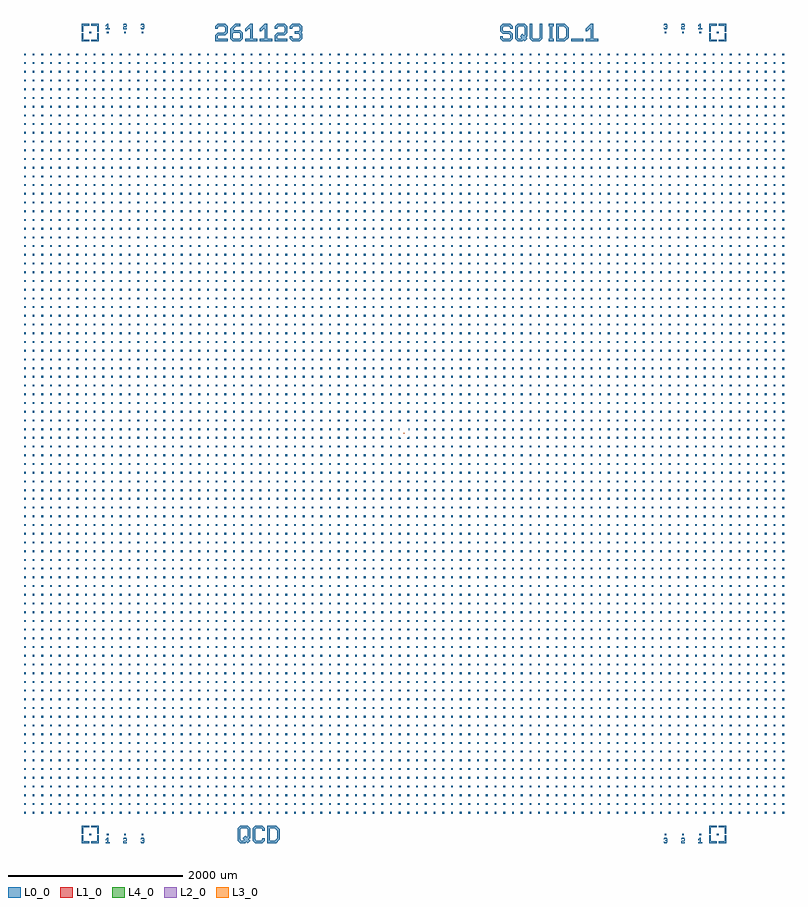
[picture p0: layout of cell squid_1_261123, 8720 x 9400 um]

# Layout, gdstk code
import gdstk
lib = gdstk.Library(unit=1e-6, precision=1e-09)
def R(c, l, rs):  # rectangles x0, y0, x1, y1
    for r in rs: c.add(gdstk.rectangle(r[:2], r[2:], *l))
def A(c, l, x, y, w, h, nx, ny, dx, dy):  # array of equal rectangles
    R(c, l, [(x+i*dx, y+j*dy, x+i*dx+w, y+j*dy+h) for i in range(nx) for j in range(ny)])
def P(c, l, *ps):  # polygons
    for p in ps: c.add(gdstk.Polygon(p, *l))
L0_0 = (0, 0)
L1_0 = (1, 0)
L2_0 = (2, 0)
L3_0 = (3, 0)
L4_0 = (4, 0)

squid_1_261123 = lib.new_cell('squid_1_261123')
A(squid_1_261123, L0_0, -3610, -4610, 20, 20, 4, 2, 200, 9200)
A(squid_1_261123, L0_0, 2990, -4610, 20, 20, 4, 2, 200, 9200)
A(squid_1_261123, L0_0, -4360, -4360, 20, 20, 88, 43, 100, 100)
A(squid_1_261123, L0_0, -4360, -60, 20, 20, 43, 2, 100, 100)
A(squid_1_261123, L0_0, 140, -60, 20, 20, 43, 2, 100, 100)
A(squid_1_261123, L0_0, -4360, 140, 20, 20, 88, 43, 100, 100)
R(squid_1_261123, L0_0, [(-60,40,-55,60), (55,40,60,60), (1916.666,4500,2059.523,4528.571)])
P(squid_1_261123, L0_0, [(2088.095,4500),(2088.095,4528.571),(2145.238,4528.571),(2145.238,4642.857),(2130.952,4642.857),(2102.381,4614.286),(2088.095,4614.286),(2088.095,4642.857),(2145.238,4700),(2173.809,4700),(2173.809,4528.571),(2230.952,4528.571),(2230.952,4500)],
  [(3610,4500),(3610,4520),(3680,4520),(3680,4590),(3700,4590),(3700,4500)],
  [(3680,4610),(3680,4680),(3610,4680),(3610,4700),(3700,4700),(3700,4610)],
  [(3500,4610),(3500,4700),(3590,4700),(3590,4680),(3520,4680),(3520,4610)],
  [(3500,4500),(3500,4590),(3520,4590),(3520,4520),(3590,4520),(3590,4500)],
  [(3378.572,4640),(3378.572,4648.571),(3395.715,4648.571),(3395.715,4682.857),(3391.429,4682.857),(3382.858,4674.286),(3378.572,4674.286),(3378.572,4682.857),(3395.715,4700),(3404.286,4700),(3404.286,4648.571),(3421.429,4648.571),(3421.429,4640)],
  [(3178.572,4640),(3178.572,4661.429),(3187.143,4670),(3208.572,4670),(3212.858,4674.286),(3212.858,4687.143),(3208.572,4691.429),(3191.429,4691.429),(3187.143,4687.143),(3187.143,4682.857),(3178.572,4682.857),(3178.572,4691.429),(3187.143,4700),(3212.858,4700),(3221.429,4691.429),(3221.429,4670),(3212.858,4661.429),(3191.429,4661.429),(3187.143,4657.143),(3187.143,4648.571),(3221.429,4648.571),(3221.429,4640)],
  [(2987.143,4640),(2978.572,4648.571),(2978.572,4657.143),(2987.143,4657.143),(2987.143,4652.857),(2991.429,4648.571),(3008.572,4648.571),(3012.858,4652.857),(3012.858,4661.429),(3008.572,4665.714),(2995.715,4665.714),(2995.715,4674.286),(3008.572,4674.286),(3012.858,4678.571),(3012.858,4687.143),(3008.572,4691.429),(2991.429,4691.429),(2987.143,4687.143),(2987.143,4682.857),(2978.572,4682.857),(2978.572,4691.429),(2987.143,4700),(3012.858,4700),(3021.429,4691.429),(3021.429,4674.286),(3017.143,4670),(3021.429,4665.714),(3021.429,4648.571),(3012.858,4640)],
  [(1659.524,4500),(1659.524,4528.571),(1673.81,4528.571),(1673.81,4671.428),(1659.524,4671.428),(1659.524,4700),(1716.667,4700),(1716.667,4671.428),(1702.381,4671.428),(1702.381,4528.571),(1716.667,4528.571),(1716.667,4500)],
  [(1745.238,4500),(1745.238,4700),(1845.238,4700),(1873.809,4671.428),(1773.809,4671.428),(1773.809,4528.571),(1830.952,4528.571),(1859.524,4557.143),(1859.524,4642.857),(1830.952,4671.428),(1873.809,4671.428),(1888.095,4657.143),(1888.095,4542.857),(1845.238,4500)],
  [(1130.952,4500),(1102.381,4528.571),(1102.381,4557.143),(1130.952,4557.143),(1130.952,4542.857),(1145.238,4528.571),(1202.381,4528.571),(1216.667,4542.857),(1216.667,4571.429),(1202.381,4585.714),(1130.952,4585.714),(1102.381,4614.286),(1102.381,4671.428),(1130.952,4700),(1216.667,4700),(1245.238,4671.428),(1245.238,4642.857),(1216.667,4642.857),(1216.667,4657.143),(1202.381,4671.428),(1145.238,4671.428),(1130.952,4657.143),(1130.952,4628.571),(1145.238,4614.286),(1216.667,4614.286),(1245.238,4585.714),(1245.238,4528.571),(1216.667,4500)],
  [(1302.381,4500),(1273.81,4528.571),(1273.81,4671.428),(1302.381,4700),(1388.096,4700),(1416.667,4671.428),(1316.667,4671.428),(1302.381,4657.143),(1302.381,4542.857),(1316.667,4528.571),(1345.239,4528.571),(1345.239,4542.857),(1330.953,4557.143),(1359.524,4585.714),(1373.81,4571.429),(1388.096,4571.429),(1388.096,4657.143),(1373.81,4671.428),(1416.667,4671.428),(1416.667,4557.143),(1402.381,4542.857),(1416.667,4528.571),(1388.096,4500),(1373.81,4514.286),(1359.524,4500)],
  [(1473.809,4500),(1445.238,4528.571),(1445.238,4700),(1473.809,4700),(1473.809,4542.857),(1488.095,4528.571),(1545.238,4528.571),(1559.524,4542.857),(1559.524,4700),(1588.095,4700),(1588.095,4528.571),(1559.524,4500)],
  [(-1652.381,4500),(-1652.381,4528.571),(-1595.238,4528.571),(-1595.238,4642.857),(-1609.524,4642.857),(-1638.095,4614.286),(-1652.381,4614.286),(-1652.381,4642.857),(-1595.238,4700),(-1566.667,4700),(-1566.667,4528.571),(-1509.524,4528.571),(-1509.524,4500)],
  [(-1480.953,4500),(-1480.953,4571.429),(-1452.382,4600),(-1380.953,4600),(-1366.667,4614.286),(-1366.667,4657.143),(-1380.953,4671.428),(-1438.096,4671.428),(-1452.382,4657.143),(-1452.382,4642.857),(-1480.953,4642.857),(-1480.953,4671.428),(-1452.382,4700),(-1366.667,4700),(-1338.096,4671.428),(-1338.096,4600),(-1366.667,4571.429),(-1438.096,4571.429),(-1452.382,4557.143),(-1452.382,4528.571),(-1338.096,4528.571),(-1338.096,4500)],
  [(-1280.953,4500),(-1309.524,4528.571),(-1309.524,4557.143),(-1280.953,4557.143),(-1280.953,4542.857),(-1266.667,4528.571),(-1209.524,4528.571),(-1195.238,4542.857),(-1195.238,4571.429),(-1209.524,4585.714),(-1252.381,4585.714),(-1252.381,4614.286),(-1209.524,4614.286),(-1195.238,4628.571),(-1195.238,4657.143),(-1209.524,4671.428),(-1266.667,4671.428),(-1280.953,4657.143),(-1280.953,4642.857),(-1309.524,4642.857),(-1309.524,4671.428),(-1280.953,4700),(-1195.238,4700),(-1166.667,4671.428),(-1166.667,4614.286),(-1180.953,4600),(-1166.667,4585.714),(-1166.667,4528.571),(-1195.238,4500)],
  [(-2166.666,4500),(-2166.666,4571.429),(-2138.095,4600),(-2066.666,4600),(-2052.38,4614.286),(-2052.38,4657.143),(-2066.666,4671.428),(-2123.809,4671.428),(-2138.095,4657.143),(-2138.095,4642.857),(-2166.666,4642.857),(-2166.666,4671.428),(-2138.095,4700),(-2052.38,4700),(-2023.809,4671.428),(-2023.809,4600),(-2052.38,4571.429),(-2123.809,4571.429),(-2138.095,4557.143),(-2138.095,4528.571),(-2023.809,4528.571),(-2023.809,4500)],
  [(-1966.667,4500),(-1995.238,4528.571),(-1995.238,4642.857),(-1938.095,4700),(-1880.952,4700),(-1880.952,4671.428),(-1923.809,4671.428),(-1952.381,4642.857),(-1952.381,4628.571),(-1880.952,4628.571),(-1852.381,4600),(-1952.381,4600),(-1966.667,4585.714),(-1966.667,4542.857),(-1952.381,4528.571),(-1895.238,4528.571),(-1880.952,4542.857),(-1880.952,4585.714),(-1895.238,4600),(-1852.381,4600),(-1852.381,4528.571),(-1880.952,4500)],
  [(-1823.809,4500),(-1823.809,4528.571),(-1766.666,4528.571),(-1766.666,4642.857),(-1780.952,4642.857),(-1809.523,4614.286),(-1823.809,4614.286),(-1823.809,4642.857),(-1766.666,4700),(-1738.095,4700),(-1738.095,4528.571),(-1680.952,4528.571),(-1680.952,4500)],
  [(-3012.858,4640),(-3021.429,4648.571),(-3021.429,4657.143),(-3012.858,4657.143),(-3012.858,4652.857),(-3008.572,4648.571),(-2991.429,4648.571),(-2987.143,4652.857),(-2987.143,4661.429),(-2991.429,4665.714),(-3004.286,4665.714),(-3004.286,4674.286),(-2991.429,4674.286),(-2987.143,4678.571),(-2987.143,4687.143),(-2991.429,4691.429),(-3008.572,4691.429),(-3012.858,4687.143),(-3012.858,4682.857),(-3021.429,4682.857),(-3021.429,4691.429),(-3012.858,4700),(-2987.143,4700),(-2978.572,4691.429),(-2978.572,4674.286),(-2982.858,4670),(-2978.572,4665.714),(-2978.572,4648.571),(-2987.143,4640)],
  [(-3221.429,4640),(-3221.429,4661.429),(-3212.858,4670),(-3191.429,4670),(-3187.143,4674.286),(-3187.143,4687.143),(-3191.429,4691.429),(-3208.572,4691.429),(-3212.858,4687.143),(-3212.858,4682.857),(-3221.429,4682.857),(-3221.429,4691.429),(-3212.858,4700),(-3187.143,4700),(-3178.572,4691.429),(-3178.572,4670),(-3187.143,4661.429),(-3208.572,4661.429),(-3212.858,4657.143),(-3212.858,4648.571),(-3178.572,4648.571),(-3178.572,4640)],
  [(-3520,4610),(-3520,4680),(-3590,4680),(-3590,4700),(-3500,4700),(-3500,4610)],
  [(-3421.429,4640),(-3421.429,4648.571),(-3404.286,4648.571),(-3404.286,4682.857),(-3408.572,4682.857),(-3417.143,4674.286),(-3421.429,4674.286),(-3421.429,4682.857),(-3404.286,4700),(-3395.715,4700),(-3395.715,4648.571),(-3378.572,4648.571),(-3378.572,4640)],
  [(-3700,4610),(-3700,4700),(-3610,4700),(-3610,4680),(-3680,4680),(-3680,4610)],
  [(-3700,4500),(-3700,4590),(-3680,4590),(-3680,4520),(-3610,4520),(-3610,4500)],
  [(-3590,4500),(-3590,4520),(-3520,4520),(-3520,4590),(-3500,4590),(-3500,4500)],
  [(-60,-60),(-60,-40),(-55,-40),(-55,-50),(-40,-50),(-40,-60)],
  [(-3700,-4700),(-3700,-4610),(-3680,-4610),(-3680,-4680),(-3610,-4680),(-3610,-4700)],
  [(-3700,-4590),(-3700,-4500),(-3610,-4500),(-3610,-4520),(-3680,-4520),(-3680,-4590)],
  [(-3520,-4590),(-3520,-4520),(-3590,-4520),(-3590,-4500),(-3500,-4500),(-3500,-4590)],
  [(-3421.429,-4700),(-3421.429,-4691.429),(-3404.286,-4691.429),(-3404.286,-4657.143),(-3408.572,-4657.143),(-3417.143,-4665.714),(-3421.429,-4665.714),(-3421.429,-4657.143),(-3404.286,-4640),(-3395.715,-4640),(-3395.715,-4691.429),(-3378.572,-4691.429),(-3378.572,-4700)],
  [(-3590,-4700),(-3590,-4680),(-3520,-4680),(-3520,-4610),(-3500,-4610),(-3500,-4700)],
  [(-3012.858,-4700),(-3021.429,-4691.429),(-3021.429,-4682.857),(-3012.858,-4682.857),(-3012.858,-4687.143),(-3008.572,-4691.429),(-2991.429,-4691.429),(-2987.143,-4687.143),(-2987.143,-4678.571),(-2991.429,-4674.286),(-3004.286,-4674.286),(-3004.286,-4665.714),(-2991.429,-4665.714),(-2987.143,-4661.429),(-2987.143,-4652.857),(-2991.429,-4648.571),(-3008.572,-4648.571),(-3012.858,-4652.857),(-3012.858,-4657.143),(-3021.429,-4657.143),(-3021.429,-4648.571),(-3012.858,-4640),(-2987.143,-4640),(-2978.572,-4648.571),(-2978.572,-4665.714),(-2982.858,-4670),(-2978.572,-4674.286),(-2978.572,-4691.429),(-2987.143,-4700)],
  [(-3221.429,-4700),(-3221.429,-4678.571),(-3212.858,-4670),(-3191.429,-4670),(-3187.143,-4665.714),(-3187.143,-4652.857),(-3191.429,-4648.571),(-3208.572,-4648.571),(-3212.858,-4652.857),(-3212.858,-4657.143),(-3221.429,-4657.143),(-3221.429,-4648.571),(-3212.858,-4640),(-3187.143,-4640),(-3178.572,-4648.571),(-3178.572,-4670),(-3187.143,-4678.571),(-3208.572,-4678.571),(-3212.858,-4682.857),(-3212.858,-4691.429),(-3178.572,-4691.429),(-3178.572,-4700)],
  [(-1709.524,-4700),(-1738.095,-4671.429),(-1738.095,-4528.572),(-1709.524,-4500),(-1623.809,-4500),(-1595.238,-4528.572),(-1595.238,-4557.143),(-1623.809,-4557.143),(-1623.809,-4542.857),(-1638.095,-4528.572),(-1695.238,-4528.572),(-1709.524,-4542.857),(-1709.524,-4657.143),(-1695.238,-4671.429),(-1638.095,-4671.429),(-1623.809,-4657.143),(-1623.809,-4642.857),(-1595.238,-4642.857),(-1595.238,-4671.429),(-1623.809,-4700)],
  [(-1880.953,-4700),(-1909.524,-4671.429),(-1909.524,-4528.572),(-1880.953,-4500),(-1795.238,-4500),(-1766.667,-4528.572),(-1866.667,-4528.572),(-1880.953,-4542.857),(-1880.953,-4657.143),(-1866.667,-4671.429),(-1838.095,-4671.429),(-1838.095,-4657.143),(-1852.381,-4642.857),(-1823.81,-4614.286),(-1809.524,-4628.571),(-1795.238,-4628.571),(-1795.238,-4542.857),(-1809.524,-4528.572),(-1766.667,-4528.572),(-1766.667,-4642.857),(-1780.953,-4657.143),(-1766.667,-4671.429),(-1795.238,-4700),(-1809.524,-4685.714),(-1823.81,-4700)],
  [(-1566.667,-4700),(-1566.667,-4500),(-1466.667,-4500),(-1438.096,-4528.572),(-1538.096,-4528.572),(-1538.096,-4671.429),(-1480.953,-4671.429),(-1452.381,-4642.857),(-1452.381,-4557.143),(-1480.953,-4528.572),(-1438.096,-4528.572),(-1423.81,-4542.857),(-1423.81,-4657.143),(-1466.667,-4700)],
  [(40,-60),(40,-50),(55,-50),(55,-40),(60,-40),(60,-60)],
  [(2987.143,-4700),(2978.572,-4691.429),(2978.572,-4682.857),(2987.143,-4682.857),(2987.143,-4687.143),(2991.429,-4691.429),(3008.572,-4691.429),(3012.858,-4687.143),(3012.858,-4678.571),(3008.572,-4674.286),(2995.715,-4674.286),(2995.715,-4665.714),(3008.572,-4665.714),(3012.858,-4661.429),(3012.858,-4652.857),(3008.572,-4648.571),(2991.429,-4648.571),(2987.143,-4652.857),(2987.143,-4657.143),(2978.572,-4657.143),(2978.572,-4648.571),(2987.143,-4640),(3012.858,-4640),(3021.429,-4648.571),(3021.429,-4665.714),(3017.143,-4670),(3021.429,-4674.286),(3021.429,-4691.429),(3012.858,-4700)],
  [(3178.572,-4700),(3178.572,-4678.571),(3187.143,-4670),(3208.572,-4670),(3212.858,-4665.714),(3212.858,-4652.857),(3208.572,-4648.571),(3191.429,-4648.571),(3187.143,-4652.857),(3187.143,-4657.143),(3178.572,-4657.143),(3178.572,-4648.571),(3187.143,-4640),(3212.858,-4640),(3221.429,-4648.571),(3221.429,-4670),(3212.858,-4678.571),(3191.429,-4678.571),(3187.143,-4682.857),(3187.143,-4691.429),(3221.429,-4691.429),(3221.429,-4700)],
  [(3378.572,-4700),(3378.572,-4691.429),(3395.715,-4691.429),(3395.715,-4657.143),(3391.429,-4657.143),(3382.858,-4665.714),(3378.572,-4665.714),(3378.572,-4657.143),(3395.715,-4640),(3404.286,-4640),(3404.286,-4691.429),(3421.429,-4691.429),(3421.429,-4700)],
  [(3610,-4700),(3610,-4680),(3680,-4680),(3680,-4610),(3700,-4610),(3700,-4700)],
  [(3680,-4590),(3680,-4520),(3610,-4520),(3610,-4500),(3700,-4500),(3700,-4590)],
  [(3500,-4700),(3500,-4610),(3520,-4610),(3520,-4680),(3590,-4680),(3590,-4700)],
  [(3500,-4590),(3500,-4500),(3590,-4500),(3590,-4520),(3520,-4520),(3520,-4590)])
P(squid_1_261123, L1_0, [(-5,0),(-5,10),(-1.5,10),(-1.5,6.3),(1.5,6.3),(1.5,10),(5,10),(5,0),(2.4,0),(2.4,3.7),(-2.4,3.7),(-2.4,0)])
R(squid_1_261123, L2_0, [(-3.1,2.7,-2.9,7.3), (2.9,2.7,3.1,7.3), (-4.1,5.6,4.1,5.8)])
R(squid_1_261123, L3_0, [(-3.2,1.9,-2.8,2.9), (2.8,1.9,3.2,2.9), (-4.9,5.5,-3.9,5.9), (3.9,5.5,4.9,5.9), (-3.2,7.1,-2.8,8.1), (2.8,7.1,3.2,8.1)])
R(squid_1_261123, L4_0, [(-3.6,2.2,-0.9,3.7), (0.9,2.2,3.6,3.7), (-0.75,5.1,0.75,7.8)])

lib.write_gds('squid_1_261123.gds')
